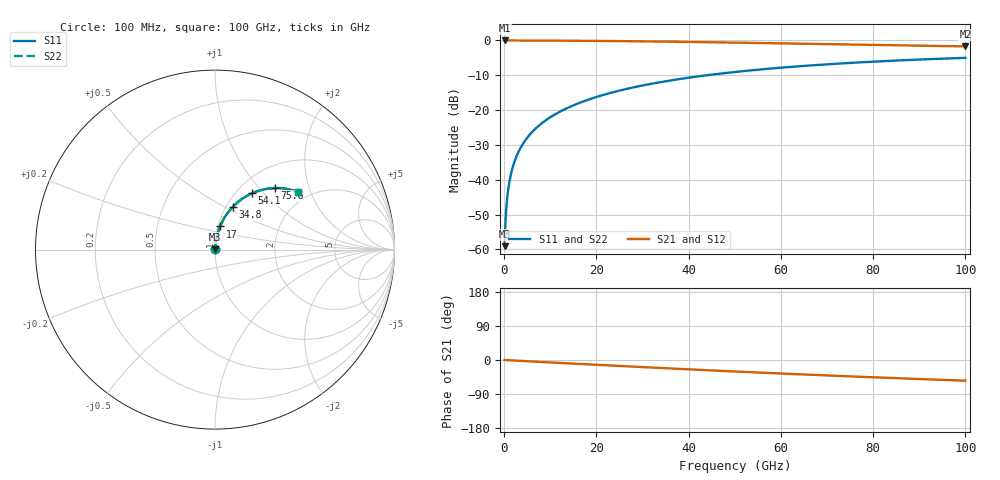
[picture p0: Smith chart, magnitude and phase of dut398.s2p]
! Touchstone file exported from HFSS 2026.1.0
!  File:  C:/ffzhzh/LocalFiles/Ansys_Project_Files/temp_train_RDL_398_1783504027_55944.aedt
!  Generated:  05:48:20 PM Jul  8, 2026
!  Design:  RDL
!  Project:  temp_train_RDL_398_1783504027_55944
! Variables:
!  h_bsmrdl = 2um
!  h_ox = 20um
!  h_rdl = 5um
!  h_sub = 80um
!  h_tmrdl = 4.97um
!  h_tsv = 80um
!  h_via = 3um
!  l_bsmrdl = 300um
!  l_sub = 526.89um
!  l_tmrdl = 126.89um
!  m_sub = 200um
!  pitch = 51.88um
!  r_tsv = 6um
!  s_tmrdl = 10um
!  w_bsmrdl = 18um
!  w_sub = 500um
!  w_tmrdl = 14.99um
!  x_tsv_center1 = 134.385um
!  x_tsv_center2 = 452.385um
!  x_tsv_center3 = 594.265um
!  x_tsv_center4 = 912.265um
!  x_tsv_center5 = 1054.145um
!  x_tsv_center6 = 1372.145um
# GHz S MA R 50.000000
! Terminal data exported
! Port[1] = TM_RDL1_1_T1
! Port[2] = TM_RDL1_1_T2
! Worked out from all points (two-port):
!   1000 points, 100 MHz to 100 GHz, reference 50 ohm
!   highest |S21| = -0.01 dB at 100 MHz (marker M1); lowest = -1.7 dB at 100 GHz (marker M2)
!   |S21| within 3 dB of the highest: start of sweep to end of sweep
!   lowest |S11| = -59.0 dB at 100 MHz (marker M3), VSWR 1.00, Z = 50.1 + j0.0847 ohm
!   |S11| at or under -10 dB: start of sweep to 43.9 GHz
!   |S22| runs from -59.0 to -5.0 dB; largest |S21 - S12| = 3.6e-15
!   S11 on the Smith chart (normalised r, x): 100 MHz: 1.00, +0.00; 17 GHz: 1.02, +0.27; 34.8 GHz: 1.08, +0.55; 54.1 GHz: 1.18, +0.86; 75.6 GHz: 1.37, +1.22; 100 GHz: 1.74, +1.63
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0.1  0.001116 49.3  0.9993 -0.1  0.9993 -0.1  0.001116 49.3
! Gamma 0 0 0 0
! Port Impedance 50 0 50 0
0.4  0.003406 76.3  0.9992 -0.3  0.9992 -0.3  0.003406 76.3
0.8  0.006603 82.1  0.9991 -0.5  0.9991 -0.5  0.006603 82.1
1.1  0.009019 83.7  0.9991 -0.7  0.9991 -0.7  0.009019 83.7
1.4  0.01144 84.5  0.999 -0.9  0.999 -0.9  0.01144 84.5
1.9  0.01547 85.1  0.9989 -1.2  0.9989 -1.2  0.01547 85.1
2.4  0.01949 85.3  0.9988 -1.6  0.9988 -1.6  0.01949 85.3
3.9  0.03147 85.0  0.9982 -2.5  0.9982 -2.5  0.03147 85.0
6  0.04801 84.0  0.9971 -3.9  0.9971 -3.9  0.04801 84.0
8.8  0.06976 82.5  0.9954 -5.7  0.9954 -5.7  0.06976 82.5
12.4  0.09738 80.5  0.9926 -7.9  0.9926 -7.9  0.09738 80.5
16.8  0.1306 77.9  0.9883 -10.7  0.9883 -10.7  0.1306 77.9
17  0.1321 77.8  0.9881 -10.8  0.9881 -10.8  0.1321 77.8
24.3  0.1856 73.5  0.9789 -15.3  0.9789 -15.3  0.1856 73.5
33.4  0.2488 68.2  0.9642 -20.8  0.9642 -20.8  0.2488 68.2
34.8  0.2582 67.4  0.9617 -21.6  0.9617 -21.6  0.2582 67.4
50.1  0.3529 58.8  0.9307 -30.4  0.9307 -30.4  0.3529 58.8
54.1  0.3752 56.7  0.9218 -32.5  0.9218 -32.5  0.3752 56.7
66.7  0.4391 50.2  0.893 -39.1  0.893 -39.1  0.439 50.2
75.6  0.4782 45.8  0.8727 -43.5  0.8727 -43.5  0.4782 45.9
83.4  0.5086 42.2  0.8554 -47.2  0.8554 -47.2  0.5086 42.2
100  0.5622 34.8  0.8212 -54.6  0.8212 -54.6  0.5622 34.9
